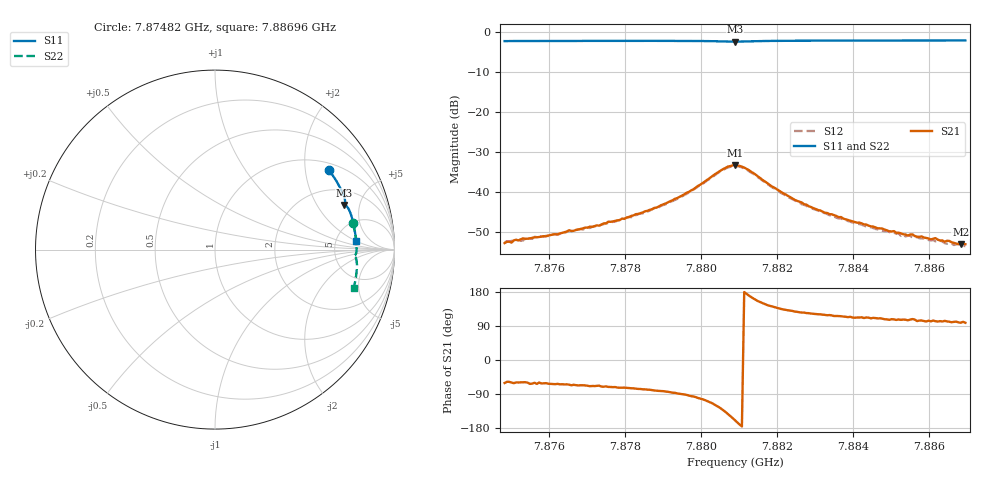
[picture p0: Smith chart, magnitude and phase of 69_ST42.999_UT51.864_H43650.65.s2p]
#  HZ  S  DB  R  50.00
! Rohde & Schwarz Vector Network Analyzer
! Rohde-Schwarz,ZNB20-2Port,1311601062101988,3.16
! Created: UTC 1/12/2023, 6:34:18 PM
! freq[Hz]  db:S11  ang:S11  db:S21  ang:S21  db:S12  ang:S12  db:S22  ang:S22
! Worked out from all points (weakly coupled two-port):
!   201 points, 7.87482 GHz to 7.88696 GHz, reference 50 ohm
!   highest |S21| = -33.34 dB at 7.88089 GHz (marker M1); lowest = -53.1 dB at 7.88683 GHz (marker M2)
!   lowest |S11| = -2.4 dB at 7.88089 GHz (marker M3), VSWR 7.41, Z = 150 + j178 ohm
!   |S11| at or under -10 dB: nowhere
!   |S22| runs from -2.2 to -1.9 dB; largest |S21 - S12| = 0.0014
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7.874825e9  -2.23 35.0  -52.82 -60.7  -52.66 -62.3  -2.14 11.0
7.876887e9  -2.19 29.4  -49.13 -66.7  -49.45 -70.5  -2.09 6.1
7.877979e9  -2.18 26.4  -46.74 -73.0  -46.73 -77.4  -2.06 3.6
7.878888e9  -2.18 23.9  -43.63 -81.6  -43.81 -85.1  -2.05 1.4
7.879798e9  -2.20 21.2  -39.32 -96.3  -39.40 -100.4  -2.07 -0.8
7.880587e9  -2.32 19.2  -34.23 -132.9  -34.44 -136.2  -2.19 -2.6
7.88089e9  -2.36 19.0  -33.34 -159.1  -33.52 -162.3  -2.24 -2.7
7.881193e9  -2.31 18.8  -34.23 174.7  -34.38 171.1  -2.19 -2.7
7.882103e9  -2.17 16.4  -40.01 134.6  -40.28 131.7  -2.03 -4.6
7.882952e9  -2.13 14.1  -44.07 122.1  -44.29 118.7  -1.99 -6.6
7.883619e9  -2.12 12.2  -46.33 116.0  -46.68 112.9  -1.97 -8.2
7.884954e9  -2.09 8.7  -49.86 105.9  -50.04 105.4  -1.93 -11.1
7.885196e9  -2.09 8.1  -50.22 107.0  -50.38 104.6  -1.94 -11.7
7.885257e9  -2.09 7.9  -50.37 105.9  -51.00 102.3  -1.93 -11.8
7.885318e9  -2.09 7.7  -50.60 106.8  -50.67 103.6  -1.94 -12.0
7.88556e9  -2.09 7.1  -50.62 108.0  -51.43 102.4  -1.93 -12.5
7.886046e9  -2.08 5.9  -51.90 101.9  -52.15 100.3  -1.93 -13.6
7.886167e9  -2.08 5.5  -51.57 102.4  -52.38 98.0  -1.93 -13.8
7.886288e9  -2.08 5.2  -52.17 102.5  -52.21 98.0  -1.92 -14.1
7.88641e9  -2.08 4.9  -52.48 103.3  -52.83 98.7  -1.92 -14.3
7.886834e9  -2.07 3.8  -53.11 98.3  -53.25 95.4  -1.92 -15.2
7.886955e9  -2.07 3.5  -53.10 98.3  -53.59 94.4  -1.92 -15.5
